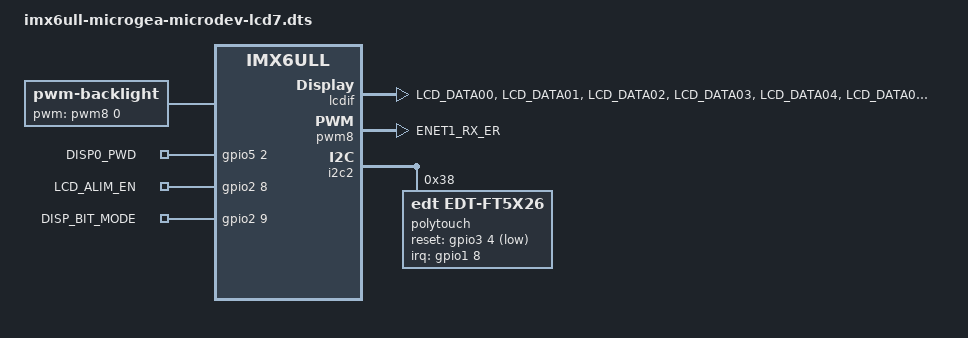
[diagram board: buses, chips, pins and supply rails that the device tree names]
/*
 * Copyright (C) 2016 Freescale Semiconductor, Inc.
 * Copyright 2017 NXP
 *
 * This program is free software; you can redistribute it and/or modify
 * it under the terms of the GNU General Public License version 2 as
 * published by the Free Software Foundation.
 */

/dts-v1/;

#include <dt-bindings/input/input.h>
#include "imx6ull-microgea-microdev.dtsi"

/{
  backlight {
      compatible = "pwm-backlight";
      pwms = <&pwm8 0 100000>;
      brightness-levels = < 0  1  2  3  4  5  6  7  8  9
                  10 11 12 13 14 15 16 17 18 19
                  20 21 22 23 24 25 26 27 28 29
                  30 31 32 33 34 35 36 37 38 39
                  40 41 42 43 44 45 46 47 48 49
                  50 51 52 53 54 55 56 57 58 59
                  60 61 62 63 64 65 66 67 68 69
                  70 71 72 73 74 75 76 77 78 79
                  80 81 82 83 84 85 86 87 88 89
                  90 91 92 93 94 95 96 97 98 99
                  100>;
      default-brightness-level = <100>;
      status = "okay";
    };

	gpio-export {
		compatible = "gpio-export";
		#size-cells = <0>;

		DISP0_PWD {
			gpio-export,name = "DISP0_PWD";
			gpio-export,output = <1>;
			gpios = <&gpio5 2 0>;
		};

		LCD_ALIM_EN {
			gpio-export,name = "LCD_ALIM_EN";
			gpio-export,output = <1>;
			gpios = <&gpio2 8 0>;
		};

		DISP_BIT_MODE {
			gpio-export,name = "DISP_BIT_MODE";
			gpio-export,output = <0>;
			gpios = <&gpio2 9 0>;
		};
	};
};




&lcdif {
	pinctrl-names = "default";
	pinctrl-0 = <&pinctrl_lcdif_dat
		     &pinctrl_lcdif_ctrl>;
	display = <&display0>;
	status = "okay";

	display0: display {
		bits-per-pixel = <32>;
		bus-width = <24>;

		display-timings {
                native-mode = <&timing1>;
                timing1: hsd100pxn1 {
                clock-frequency = <50000000>;
                hactive = <1024>;
                vactive = <600>;
                hback-porch = <150>;
                hfront-porch = <150>;
                vback-porch = <10>;
                vfront-porch = <10>;
                hsync-len = <20>;
                vsync-len = <15>;
                hsync-active = <0>;
                vsync-active = <0>;
                de-active = <1>;
                pixelclk-active = <0>;
                };
        };
	};
};


&pwm8 {
	pinctrl-names = "default";
	pinctrl-0 = <&pinctrl_pwm8>;
	status = "okay";
  #pwm-cells = <2>;
};


&iomuxc {

	imx6ul-evk {

		pinctrl_lcdif_dat: lcdifdatgrp {
			fsl,pins = <
				MX6UL_PAD_LCD_DATA00__LCDIF_DATA00  0x79
				MX6UL_PAD_LCD_DATA01__LCDIF_DATA01  0x79
				MX6UL_PAD_LCD_DATA02__LCDIF_DATA02  0x79
				MX6UL_PAD_LCD_DATA03__LCDIF_DATA03  0x79
				MX6UL_PAD_LCD_DATA04__LCDIF_DATA04  0x79
				MX6UL_PAD_LCD_DATA05__LCDIF_DATA05  0x79
				MX6UL_PAD_LCD_DATA06__LCDIF_DATA06  0x79
				MX6UL_PAD_LCD_DATA07__LCDIF_DATA07  0x79
				MX6UL_PAD_LCD_DATA08__LCDIF_DATA08  0x79
				MX6UL_PAD_LCD_DATA09__LCDIF_DATA09  0x79
				MX6UL_PAD_LCD_DATA10__LCDIF_DATA10  0x79
				MX6UL_PAD_LCD_DATA11__LCDIF_DATA11  0x79
				MX6UL_PAD_LCD_DATA12__LCDIF_DATA12  0x79
				MX6UL_PAD_LCD_DATA13__LCDIF_DATA13  0x79
				MX6UL_PAD_LCD_DATA14__LCDIF_DATA14  0x79
				MX6UL_PAD_LCD_DATA15__LCDIF_DATA15  0x79
				MX6UL_PAD_LCD_DATA16__LCDIF_DATA16  0x79
				MX6UL_PAD_LCD_DATA17__LCDIF_DATA17  0x79
				MX6UL_PAD_LCD_DATA18__LCDIF_DATA18  0x79
				MX6UL_PAD_LCD_DATA19__LCDIF_DATA19  0x79
				MX6UL_PAD_LCD_DATA20__LCDIF_DATA20  0x79
				MX6UL_PAD_LCD_DATA21__LCDIF_DATA21  0x79
				MX6UL_PAD_LCD_DATA22__LCDIF_DATA22  0x79
				MX6UL_PAD_LCD_DATA23__LCDIF_DATA23  0x79

				MX6UL_PAD_SNVS_TAMPER2__GPIO5_IO02 	0x1b0b0 /* DISP0_PWD */
				MX6UL_PAD_ENET2_RX_DATA1__GPIO2_IO09    0x1b0b0 /*DISP_BIT_MODE*/
			>;
  		};

  		pinctrl_lcdif_ctrl: lcdifctrlgrp {
  			fsl,pins = <
  				MX6UL_PAD_LCD_CLK__LCDIF_CLK	    0x79
  				MX6UL_PAD_LCD_ENABLE__LCDIF_ENABLE  0x79
  				MX6UL_PAD_LCD_HSYNC__LCDIF_HSYNC    0x79
  				MX6UL_PAD_LCD_VSYNC__LCDIF_VSYNC    0x79
  			>;
  		};

  		pinctrl_pwm8: pwm8grp {
  			fsl,pins = <
  				MX6UL_PAD_ENET1_RX_ER__PWM8_OUT   0x110b0
  			>;
		};
  	};
};

&i2c2 {

	polytouch: edt-ft5x26@38 {
		compatible = "edt,edt-ft5x26";
		reg = <0x38>;
		pinctrl-names = "default";
		pinctrl-0 = <&pinctrl_edt_ft5x26>;
		interrupt-parent = <&gpio1>;
		interrupts = <8 0>;
		reset-gpios = <&gpio3 4 1>;
	};
};

&iomuxc {
	touchpanel{
		pinctrl_edt_ft5x26:  edt-ft5x26grp  {
			fsl,pins = <
				MX6UL_PAD_GPIO1_IO08__GPIO1_IO08 0x1b0b0 /*interrupt*/
				MX6UL_PAD_LCD_RESET__GPIO3_IO04 0x1b0b0 /*reset edt*/
			>;
		};
	};
};
